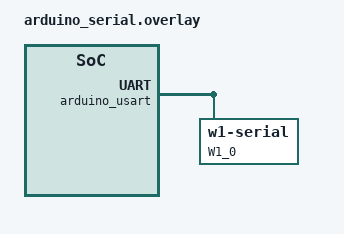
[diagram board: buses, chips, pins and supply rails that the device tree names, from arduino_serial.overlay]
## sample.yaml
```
sample:
  name: DS18B20 Temperature Sensor sample
common:
    harness: console
    tags: sensors
tests:
  sample.sensor.ds18b20.w1_serial:
    platform_allow: nucleo_g0b1re
    integration_platforms:
      - nucleo_g0b1re
    harness_config:
        type: one_line
        regex:
            - "Temp: (.*)"
        fixture: fixture_w1_serial_ds18b20
  sample.sensor.ds18b20.w1_arduino_serial:
    platform_allow: nucleo_g071rb
    depends_on: arduino_serial
    integration_platforms:
      - nucleo_g071rb
    extra_args: "DTC_OVERLAY_FILE=arduino_serial.overlay"
    harness_config:
        type: one_line
        regex:
            - "Temp: (.*)"
        fixture: fixture_w1_arduino_serial_ds18b20
```

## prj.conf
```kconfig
CONFIG_SENSOR=y
CONFIG_W1=y
CONFIG_DS18B20=y

CONFIG_LOG=y
CONFIG_LOG2_MODE_DEFERRED=y
CONFIG_LOG_DEFAULT_LEVEL=4
CONFIG_SENSOR_LOG_LEVEL_DBG=y
CONFIG_W1_LOG_LEVEL_DBG=y
```

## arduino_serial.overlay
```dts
/*
 * Copyright (c) 2021, Thomas Stranger
 *
 * SPDX-License-Identifier: Apache-2.0
 */

/*
 * Example configuration of a DS18B20 device on an Arduino serial bus.
 * Requires external circuit to provide an open-drain interface.
 */

&arduino_usart {
	status = "okay";

	w1_0: w1-zephyr-serial-0 {
		compatible = "zephyr,w1-serial";
		#address-cells = <1>;
		#size-cells = <0>;
		label = "W1_0";
		status = "okay";

		ds18b20-1@28 {
			compatible = "maxim,ds18b20";
			reg = <0x28>;
			resolution = <12>;
			label = "DS18B20_1";
			status = "okay";
		};
		ds18b20-2@28 {
			compatible = "maxim,ds18b20";
			reg = <0x28>;
			resolution = <12>;
			label = "DS18B20_2";
			status = "okay";
		};

		ds18b20-3@28 {
			compatible = "maxim,ds18b20";
			reg = <0x28>;
			resolution = <12>;
			label = "DS18B20_3";
			status = "okay";
		};
	};

};
```

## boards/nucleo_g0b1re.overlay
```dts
/*
 * Copyright (c) 2021, Thomas Stranger
 *
 * SPDX-License-Identifier: Apache-2.0
 */

/*
 * Example configuration of a DS18B20 device on an Arduino serial bus.
 * Open drain configuration allows communication by simply connecting the bus
 * line to:
 * a) the UART RX pin as well as the TX pin.
 * b) the UART TX pin only, while the single wire half-duplex mode is enabled.
 * An external pull-up should be added anyways.
 */

&usart1_tx_pc4 {
	drive-open-drain;
	bias-pull-up;
};

&arduino_serial {
	status = "okay";

	w1_0: w1-zephyr-serial-0 {
		compatible = "zephyr,w1-serial";
		#address-cells = <1>;
		#size-cells = <0>;
		label = "W1_0";
		status = "okay";

		ds18b20@28 {
			compatible = "maxim,ds18b20";
			reg = <0x28>;
			resolution = <12>;
			label = "DS18B20";
			status = "okay";
		};
	};
};
```

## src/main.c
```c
/*
 * Copyright (c) 2021 Thomas Stranger
 *
 * SPDX-License-Identifier: Apache-2.0
 */

#include <zephyr.h>
#include <device.h>
#include <devicetree.h>
#include <drivers/sensor.h>

#if 1

struct ds18b20_scratchpad {
	int16_t temp;
	uint8_t alarm_temp_high;
	uint8_t alarm_temp_low;
	uint8_t config;
	uint8_t res[3];
	uint8_t crc;
};

struct ds18b20_config {
	const struct device *bus;
	uint8_t family;
	uint8_t resolution;
};

struct ds18b20_data {
	uint8_t rom[8];
	struct ds18b20_scratchpad scratchpad;
	uint8_t power_supply;
	bool lazy_loaded;
};
#endif

#define DS_1 DT_INST(0, maxim_ds18b20)
#define DS_2 DT_INST(1, maxim_ds18b20)
#define DS_3 DT_INST(2, maxim_ds18b20)
/*
 * Get a device structure from a devicetree node with compatible
 * "maxim,ds18b20". (If there are multiple, just pick one.)
 */
static const struct device *get_ds18b20_device(int id)
{
	struct device *dev = 0;
	if(id == 0) {
		dev = DEVICE_DT_GET(DS_1);
	}
	else if(id == 1) {
		dev = DEVICE_DT_GET(DS_2);
	} else
	if(id == 2) {
		dev = DEVICE_DT_GET(DS_3);
	}

	if (dev == NULL) {
		/* No such node, or the node does not have status "okay". */
		printk("\nError: no device found.\n");
		return NULL;
	}

	struct ds18b20_data *data = dev->data;
	if(id == 0) {
		data->rom[0] = 0x28;
		data->rom[1] = 0xA0;
		data->rom[2] = 0x60;
		data->rom[3] = 0x86;
		data->rom[4] = 0x04;
		data->rom[5] = 0x00;
		data->rom[6] = 0x00;
		data->rom[7] = 0x1d;
	} else
	if(id == 1) {
		data->rom[0] = 0x28;
		data->rom[1] = 0x46;
		data->rom[2] = 0x91;
		data->rom[3] = 0x86;
		data->rom[4] = 0x04;
		data->rom[5] = 0x00;
		data->rom[6] = 0x00;
		data->rom[7] = 0xed;
	} else
	if(id == 2) {
		data->rom[0] = 0x28;
		data->rom[1] = 0x0f;
		data->rom[2] = 0x28;
		data->rom[3] = 0x87;
		data->rom[4] = 0x04;
		data->rom[5] = 0x00;
		data->rom[6] = 0x00;
		data->rom[7] = 0x3d;
	}

	if (!device_is_ready(dev)) {
		printk("\nError: Device \"%s\" is not ready; "
		       "check the driver initialization logs for errors.\n",
		       dev->name);
		return NULL;
	}

	printk("Found device \"%s\", getting sensor data\n", dev->name);
	return dev;
}

void main(void)
{
	const struct device *dev = get_ds18b20_device(0);
	const struct device *dev2 = get_ds18b20_device(1);
	const struct device *dev3 = get_ds18b20_device(2);

	if (dev == NULL) {
		return;
	}

	while (1) {
		struct sensor_value temp;

		sensor_sample_fetch(dev);
		sensor_channel_get(dev, SENSOR_CHAN_AMBIENT_TEMP, &temp);
		printk("Dev Temp: %d.%06d\n", temp.val1, temp.val2);
		sensor_sample_fetch(dev2);
		sensor_channel_get(dev2, SENSOR_CHAN_AMBIENT_TEMP, &temp);
		printk("Dev2 Temp: %d.%06d\n", temp.val1, temp.val2);
		sensor_sample_fetch(dev3);
		sensor_channel_get(dev3, SENSOR_CHAN_AMBIENT_TEMP, &temp);
		printk("Dev3 Temp: %d.%06d\n", temp.val1, temp.val2);

		k_sleep(K_MSEC(5000));
	}
}
```
